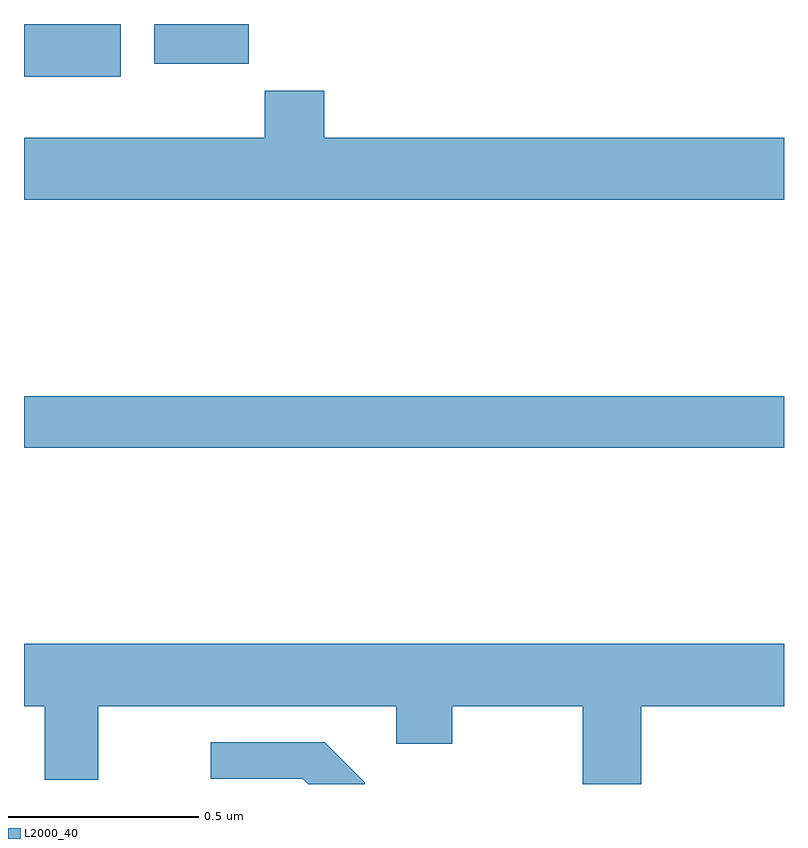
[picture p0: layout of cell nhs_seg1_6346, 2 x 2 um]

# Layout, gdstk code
import gdstk
lib = gdstk.Library(unit=1e-6, precision=1e-09)
def R(c, l, rs):  # rectangles x0, y0, x1, y1
    for r in rs: c.add(gdstk.rectangle(r[:2], r[2:], *l))
def P(c, l, *ps):  # polygons
    for p in ps: c.add(gdstk.Polygon(p, *l))
L2000_40 = (2000, 40)

nhs_seg1_6346 = lib.new_cell('nhs_seg1_6346')
R(nhs_seg1_6346, L2000_40, [(190,547.084,192,547.22), (190,548.06,190.255,548.199), (190.343,548.094,190.592,548.199)])
P(nhs_seg1_6346, L2000_40, [(192,547.9),(190.79,547.9),(190.79,548.024),(190.633,548.024),(190.633,547.9),(190,547.9),(190,547.736),(192,547.736)],
  [(191.624,546.404),(192,546.404),(192,546.568),(190,546.568),(190,546.404),(190.055,546.404),(190.055,546.21),(190.195,546.21),(190.195,546.404),(190.979,546.404),(190.979,546.305),(191.127,546.305),(191.127,546.404),(191.471,546.404),(191.471,546.199),(191.624,546.199)],
  [(190.897,546.203),(190.791,546.309),(190.491,546.309),(190.491,546.213),(190.734,546.213),(190.748,546.199),(190.897,546.199)])

lib.write_gds('nhs_seg1_6346.gds')
